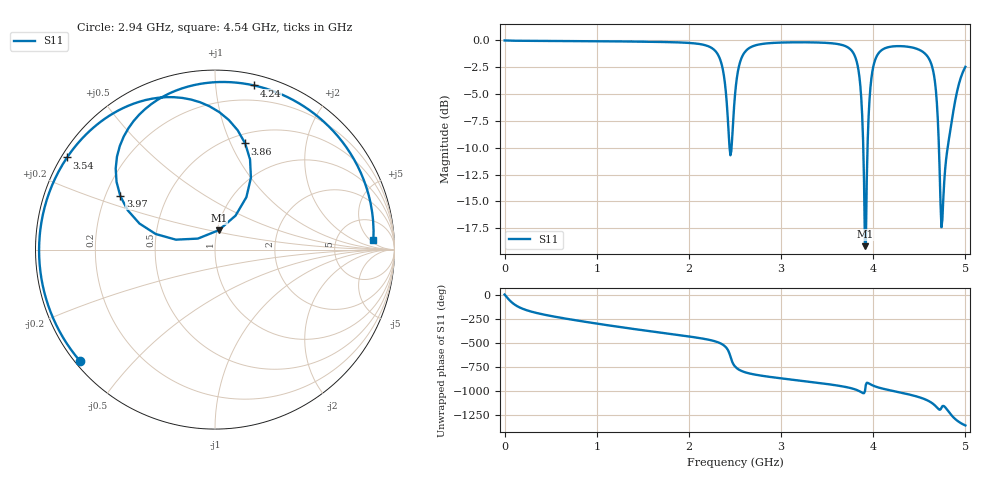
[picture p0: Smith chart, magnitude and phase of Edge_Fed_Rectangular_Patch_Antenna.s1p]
! Touchstone file exported from HFSS 2024.2.0
!  File:  C:/00_Asenjo/00_Project/Ketupa/simulation/Ansys_HFSS/HFSS_Projects/Edge_Fed_Rectangular_Patch_Antenna.aedt
!  Generated:  05:11:10 PM Jun 27, 2025
!  Design:  Rectangular_Patch_Antenna
!  Project:  Edge_Fed_Rectangular_Patch_Antenna
!  Setup:  Setup1
!  Solution:  Sweep
! Variables:
!  Airbox_dist = 9.9931mm
!  EdgeFeedLength = 10mm
!  EdgeFeedWidth = 1.5mm
!  FeedLength = 15mm
!  FeedWidth = 3mm
!  VirtualObject_dist = 2.9979mm
!  patchX = 41mm
!  patchY = 32.5mm
!  subH = 1.5mm
!  subX = 90mm
!  subY = 90mm
# GHz S MA R 50.000000
! Terminal data exported
! Port[1] = patch_T1
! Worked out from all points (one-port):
!   651 points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, 1 Hz to 5 GHz, reference 50 ohm
!   lowest |S11| = -19.2 dB at 3.91 GHz (marker M1), VSWR 1.25, Z = 50.9 + j11.1 ohm
!   |S11| at or under -10 dB: 2.441 GHz to 2.462 GHz (21.08 MHz wide, 0.86 % of centre); 3.892 GHz to 3.938 GHz (46.45 MHz wide, 1.19 % of centre); 4.713 GHz to 4.807 GHz (94.59 MHz wide, 1.99 % of centre)
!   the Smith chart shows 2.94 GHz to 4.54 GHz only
!   S11 on the Smith chart (normalised r, x): 2.94 GHz: 0.01, -0.36; 3.54 GHz: 0.02, +0.29; 3.86 GHz: 0.60, +1.14; 3.97 GHz: 0.26, +0.25; 4.24 GHz: 0.08, +1.26; 4.54 GHz: 13, +6
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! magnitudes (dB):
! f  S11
! 1 Hz  0.0
! 630 MHz  0.0
! 1.26 GHz  -0.1
! 1.88 GHz  -0.2
! 2.31 GHz  -1.2
! 2.37 GHz  -2.8
! 2.45 GHz  -10.7
! 2.51 GHz  -4.2
! 2.62 GHz  -1.0
! 2.94 GHz  -0.2
! 3.13 GHz  -0.2
! 3.54 GHz  -0.3
! 3.76 GHz  -0.9
! 3.82 GHz  -2.0
! 3.86 GHz  -4.2
! 3.89 GHz  -9.4
! 3.91 GHz  -19.2
! 3.94 GHz  -9.3
! 3.97 GHz  -4.3
! 4.04 GHz  -1.4
! 4.24 GHz  -0.5
! 4.38 GHz  -0.6
! 4.54 GHz  -1.1
! 4.66 GHz  -3.3
! 4.73 GHz  -15.2
! 4.75 GHz  -16.7
! 4.88 GHz  -6.1
! 5 GHz  -2.5
